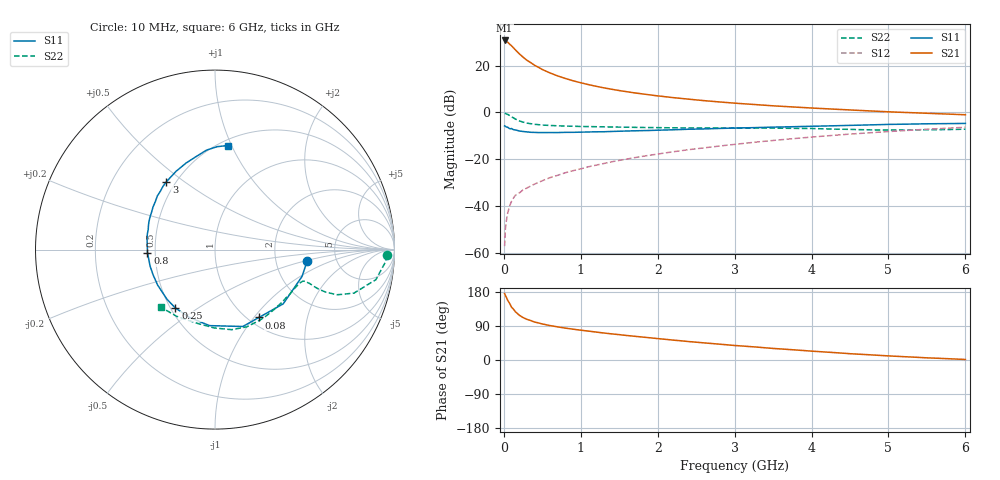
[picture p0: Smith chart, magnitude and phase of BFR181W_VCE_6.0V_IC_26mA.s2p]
! Infineon Technologies  Discrete & RF Semiconductors
! BFR181W
! VCE =  6.0 V,  IC =  26 mA
! Common Emitter S-Parameters:  Jan 2017
# GHz  S  MA  R  50
!  f  S11  S21  S12  S22
! GHz  MAG  ANG  MAG  ANG  MAG  ANG  MAG  ANG
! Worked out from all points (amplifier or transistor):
!   77 points, 10 MHz to 6 GHz, reference 50 ohm
!   highest |S21| = 30.8 dB at 10 MHz (marker M1)
!   |S21| within 3 dB of that: start of sweep to 120.8 MHz
!   unconditionally stable (mu >= 1): 486.1 MHz to 2.393 GHz
!   at 130 MHz: K = 0.49, MSG = 31.9 dB, |S12| = -36.3 dB
!   at 2.2 GHz: K = 1.03, MAG = 10.5 dB, |S12| = -16.8 dB
!   at 6 GHz: K = 0.84, MSG = 2.7 dB, |S12| = -6.3 dB
!   S11 on the Smith chart (normalised r, x): 10 MHz: 3.04, -0.52; 80 MHz: 1.12, -1.06; 250 MHz: 0.53, -0.41; 800 MHz: 0.45, -0.02; 3 GHz: 0.45, +0.43; 6 GHz: 0.55, +0.97
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0.01  0.5174 -7.0  34.49 175.5  0.0014 86.0  0.957 -1.8
0.02  0.5076 -17.1  33.81 170.4  0.0033 89.6  0.9536 -4.0
0.05  0.4856 -38.5  31.77 157.5  0.0071 72.9  0.9119 -10.6
0.08  0.4504 -57.0  28.29 147.5  0.0105 70.1  0.85 -14.5
0.1  0.4556 -70.1  26.54 139.5  0.0127 69.1  0.8112 -17.4
0.15  0.4247 -94.1  21.75 127.3  0.0171 63.8  0.7248 -20.3
0.2  0.4035 -110.8  17.93 118.3  0.0191 62.7  0.6628 -21.0
0.25  0.393 -124.2  15.17 112.0  0.0223 63.1  0.623 -20.9
0.3  0.3851 -133.9  13.04 107.2  0.0244 63.0  0.5934 -20.5
0.4  0.3758 -148.3  10.18 100.1  0.0296 65.9  0.5593 -19.7
0.5  0.3725 -158.0  8.272 95.1  0.0349 68.8  0.5396 -19.5
0.6  0.3732 -165.9  6.984 90.9  0.0406 70.2  0.5283 -19.5
0.7  0.3728 -171.8  6.033 87.4  0.0456 72.7  0.5196 -19.8
0.8  0.3769 -177.3  5.323 84.1  0.0518 73.8  0.5138 -20.6
1.1  0.3835 170.5  3.934 76.2  0.0695 75.7  0.5007 -23.5
1.5  0.3979 158.0  2.941 66.9  0.095 76.9  0.4873 -28.9
2.1  0.4227 143.2  2.169 54.6  0.1371 75.8  0.4727 -39.5
3  0.4654 125.5  1.583 38.3  0.2085 71.2  0.4656 -57.9
3.1  0.4688 123.6  1.542 36.9  0.2173 70.4  0.4645 -59.9
4.1  0.5122 106.9  1.222 22.1  0.3076 62.0  0.4502 -80.7
5.1  0.5594 93.6  1.019 9.8  0.4009 51.6  0.4212 -107.9
6  0.5844 82.9  0.894 1.4  0.4834 41.3  0.4405 -133.3
